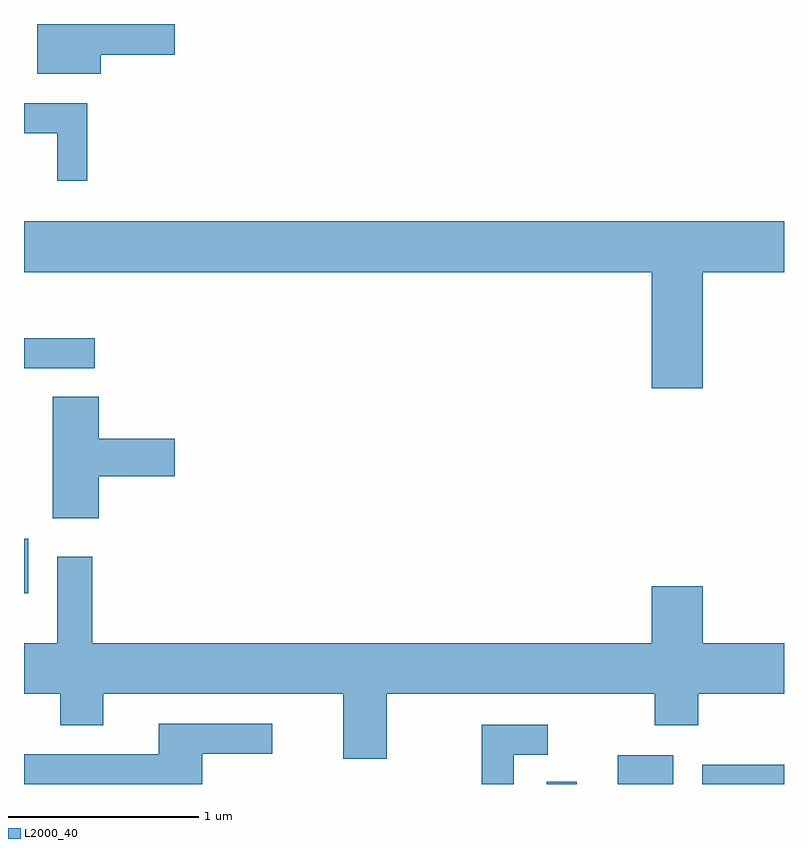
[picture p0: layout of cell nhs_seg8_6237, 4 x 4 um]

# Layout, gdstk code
import gdstk
lib = gdstk.Library(unit=1e-6, precision=1e-09)
def R(c, l, rs):  # rectangles x0, y0, x1, y1
    for r in rs: c.add(gdstk.rectangle(r[:2], r[2:], *l))
def P(c, l, *ps):  # polygons
    for p in ps: c.add(gdstk.Polygon(p, *l))
L2000_40 = (2000, 40)

nhs_seg8_6237 = lib.new_cell('nhs_seg8_6237')
R(nhs_seg8_6237, L2000_40, [(374.361,1880.342,374.519,1880.353), (374.736,1880.342,375.029,1880.494), (375.181,1880.342,375.611,1880.444), (371.611,1881.346,371.634,1881.634), (371.611,1882.531,371.983,1882.689)])
P(nhs_seg8_6237, L2000_40, [(372.014,1884.181),(372.404,1884.181),(372.404,1884.342),(371.681,1884.342),(371.681,1884.081),(372.014,1884.081)],
  [(371.944,1883.924),(371.611,1883.924),(371.611,1883.766),(371.786,1883.766),(371.786,1883.518),(371.944,1883.518)],
  [(375.184,1883.036),(375.611,1883.036),(375.611,1883.304),(371.611,1883.304),(371.611,1883.036),(374.916,1883.036),(374.916,1882.426),(375.184,1882.426)],
  [(372.004,1881.961),(372.404,1881.961),(372.404,1882.159),(372.004,1882.159),(372.004,1882.379),(371.761,1882.379),(371.761,1881.741),(372.004,1881.741)],
  [(373.519,1880.816),(374.931,1880.816),(374.931,1880.651),(375.159,1880.651),(375.159,1880.816),(375.611,1880.816),(375.611,1881.084),(375.184,1881.084),(375.184,1881.384),(374.916,1881.384),(374.916,1881.084),(371.969,1881.084),(371.969,1881.539),(371.786,1881.539),(371.786,1881.084),(371.611,1881.084),(371.611,1880.816),(371.801,1880.816),(371.801,1880.651),(372.029,1880.651),(372.029,1880.816),(373.291,1880.816),(373.291,1880.476),(373.519,1880.476)],
  [(372.549,1880.501),(372.918,1880.501),(372.918,1880.659),(372.321,1880.659),(372.321,1880.499),(371.611,1880.499),(371.611,1880.342),(372.549,1880.342)],
  [(374.189,1880.496),(374.368,1880.496),(374.368,1880.654),(374.021,1880.654),(374.021,1880.342),(374.189,1880.342)])

lib.write_gds('nhs_seg8_6237.gds')
